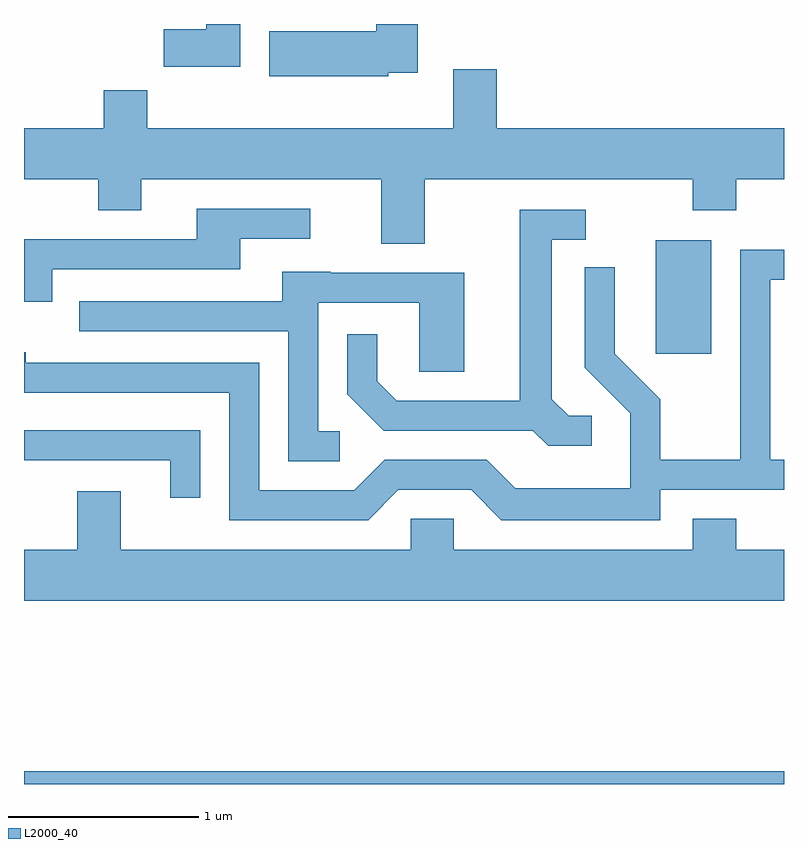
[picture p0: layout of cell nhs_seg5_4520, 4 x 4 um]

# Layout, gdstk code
import gdstk
lib = gdstk.Library(unit=1e-6, precision=1e-09)
def R(c, l, rs):  # rectangles x0, y0, x1, y1
    for r in rs: c.add(gdstk.rectangle(r[:2], r[2:], *l))
def P(c, l, *ps):  # polygons
    for p in ps: c.add(gdstk.Polygon(p, *l))
L2000_40 = (2000, 40)

nhs_seg5_4520 = lib.new_cell('nhs_seg5_4520')
R(nhs_seg5_4520, L2000_40, [(319.611,1438.072,323.611,1438.139), (322.936,1440.336,323.229,1440.934)])
P(nhs_seg5_4520, L2000_40, [(321.529,1441.816),(321.684,1441.816),(321.684,1442.072),(321.466,1442.072),(321.466,1442.034),(320.901,1442.034),(320.901,1441.796),(321.529,1441.796)],
  [(320.749,1442.072),(320.571,1442.072),(320.571,1442.044),(320.346,1442.044),(320.346,1441.846),(320.749,1441.846)],
  [(321.719,1441.256),(323.131,1441.256),(323.131,1441.091),(323.359,1441.091),(323.359,1441.256),(323.611,1441.256),(323.611,1441.524),(322.099,1441.524),(322.099,1441.834),(321.871,1441.834),(321.871,1441.524),(320.259,1441.524),(320.259,1441.724),(320.031,1441.724),(320.031,1441.524),(319.611,1441.524),(319.611,1441.256),(320.001,1441.256),(320.001,1441.091),(320.229,1441.091),(320.229,1441.256),(321.491,1441.256),(321.491,1440.916),(321.719,1440.916)],
  [(319.759,1440.781),(320.749,1440.781),(320.749,1440.941),(321.118,1440.941),(321.118,1441.099),(320.521,1441.099),(320.521,1440.939),(319.611,1440.939),(319.611,1440.611),(319.759,1440.611)],
  [(322.598,1440.009),(322.477,1440.009),(322.389,1440.097),(322.389,1440.936),(322.568,1440.936),(322.568,1441.094),(322.221,1441.094),(322.221,1440.089),(321.572,1440.089),(321.469,1440.192),(321.469,1440.438),(321.311,1440.438),(321.311,1440.124),(321.504,1439.931),(322.289,1439.931),(322.369,1439.851),(322.598,1439.851)],
  [(321.582,1439.621),(321.964,1439.621),(322.124,1439.461),(322.959,1439.461),(322.959,1439.621),(323.611,1439.621),(323.611,1439.779),(323.539,1439.779),(323.539,1440.726),(323.611,1440.726),(323.611,1440.884),(323.381,1440.884),(323.381,1439.779),(322.959,1439.779),(322.959,1440.097),(322.719,1440.337),(322.719,1440.793),(322.561,1440.793),(322.561,1440.264),(322.801,1440.024),(322.801,1439.629),(322.197,1439.629),(322.047,1439.779),(321.509,1439.779),(321.349,1439.619),(320.849,1439.619),(320.849,1440.289),(319.619,1440.289),(319.619,1440.344),(319.611,1440.344),(319.611,1440.131),(320.691,1440.131),(320.691,1439.461),(321.422,1439.461)],
  [(321.273,1439.929),(321.159,1439.929),(321.159,1440.606),(321.691,1440.606),(321.691,1440.241),(321.929,1440.241),(321.929,1440.764),(321.225,1440.764),(321.225,1440.769),(320.971,1440.769),(320.971,1440.614),(319.903,1440.614),(319.903,1440.456),(321.001,1440.456),(321.001,1439.771),(321.273,1439.771)],
  [(320.539,1439.934),(319.611,1439.934),(319.611,1439.776),(320.381,1439.776),(320.381,1439.578),(320.539,1439.578)],
  [(319.891,1439.614),(319.891,1439.304),(319.611,1439.304),(319.611,1439.036),(323.611,1439.036),(323.611,1439.304),(323.359,1439.304),(323.359,1439.469),(323.131,1439.469),(323.131,1439.304),(321.874,1439.304),(321.874,1439.469),(321.646,1439.469),(321.646,1439.304),(320.119,1439.304),(320.119,1439.614)])

lib.write_gds('nhs_seg5_4520.gds')
